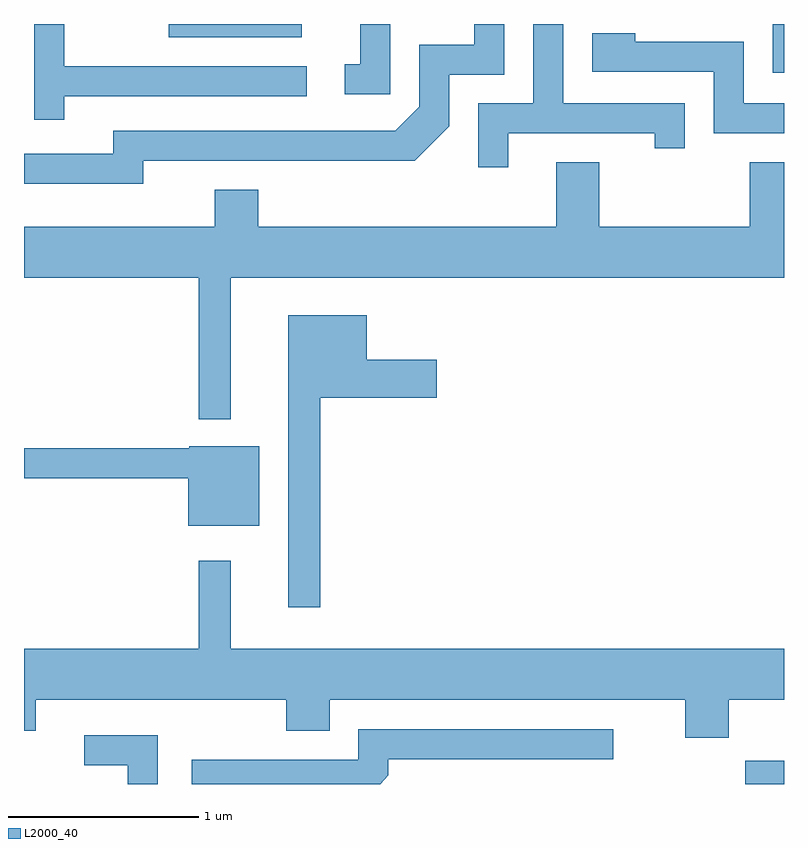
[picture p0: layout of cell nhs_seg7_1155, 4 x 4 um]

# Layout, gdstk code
import gdstk
lib = gdstk.Library(unit=1e-6, precision=1e-09)
def R(c, l, rs):  # rectangles x0, y0, x1, y1
    for r in rs: c.add(gdstk.rectangle(r[:2], r[2:], *l))
def P(c, l, *ps):  # polygons
    for p in ps: c.add(gdstk.Polygon(p, *l))
L2000_40 = (2000, 40)

nhs_seg7_1155 = lib.new_cell('nhs_seg7_1155')
R(nhs_seg7_1155, L2000_40, [(223.406,1778.252,223.611,1778.374), (223.551,1781.996,223.611,1782.252), (220.373,1782.181,221.074,1782.252)])
P(nhs_seg7_1155, L2000_40, [(219.824,1781.871),(221.098,1781.871),(221.098,1782.029),(219.824,1782.029),(219.824,1782.252),(219.666,1782.252),(219.666,1781.748),(219.824,1781.748)],
  [(221.539,1782.252),(221.381,1782.252),(221.381,1782.039),(221.298,1782.039),(221.298,1781.881),(221.539,1781.881)],
  [(220.239,1781.531),(221.667,1781.531),(221.849,1781.714),(221.849,1781.986),(222.139,1781.986),(222.139,1782.252),(221.981,1782.252),(221.981,1782.144),(221.691,1782.144),(221.691,1781.817),(221.564,1781.689),(220.081,1781.689),(220.081,1781.569),(219.611,1781.569),(219.611,1781.411),(220.239,1781.411)],
  [(222.159,1781.676),(222.931,1781.676),(222.931,1781.598),(223.089,1781.598),(223.089,1781.834),(222.449,1781.834),(222.449,1782.252),(222.291,1782.252),(222.291,1781.834),(222.001,1781.834),(222.001,1781.498),(222.159,1781.498)],
  [(223.611,1781.834),(223.399,1781.834),(223.399,1782.159),(222.829,1782.159),(222.829,1782.204),(222.601,1782.204),(222.601,1782.001),(223.241,1782.001),(223.241,1781.676),(223.611,1781.676)],
  [(220.699,1780.916),(223.611,1780.916),(223.611,1781.524),(223.431,1781.524),(223.431,1781.184),(222.639,1781.184),(222.639,1781.524),(222.411,1781.524),(222.411,1781.184),(220.844,1781.184),(220.844,1781.379),(220.616,1781.379),(220.616,1781.184),(219.611,1781.184),(219.611,1780.916),(220.531,1780.916),(220.531,1780.173),(220.699,1780.173)],
  [(221.169,1780.286),(221.784,1780.286),(221.784,1780.484),(221.414,1780.484),(221.414,1780.719),(221.001,1780.719),(221.001,1779.183),(221.169,1779.183)],
  [(220.849,1780.029),(220.48,1780.029),(220.48,1780.019),(219.611,1780.019),(219.611,1779.861),(220.476,1779.861),(220.476,1779.611),(220.849,1779.611)],
  [(223.319,1778.696),(223.611,1778.696),(223.611,1778.964),(220.699,1778.964),(220.699,1779.428),(220.531,1779.428),(220.531,1778.964),(219.611,1778.964),(219.611,1778.531),(219.674,1778.531),(219.674,1778.696),(220.991,1778.696),(220.991,1778.531),(221.219,1778.531),(221.219,1778.696),(223.091,1778.696),(223.091,1778.496),(223.319,1778.496)],
  [(221.529,1778.297),(221.529,1778.381),(222.713,1778.381),(222.713,1778.539),(221.371,1778.539),(221.371,1778.379),(220.493,1778.379),(220.493,1778.252),(221.485,1778.252)],
  [(220.314,1778.509),(219.928,1778.509),(219.928,1778.351),(220.156,1778.351),(220.156,1778.252),(220.314,1778.252)])

lib.write_gds('nhs_seg7_1155.gds')
